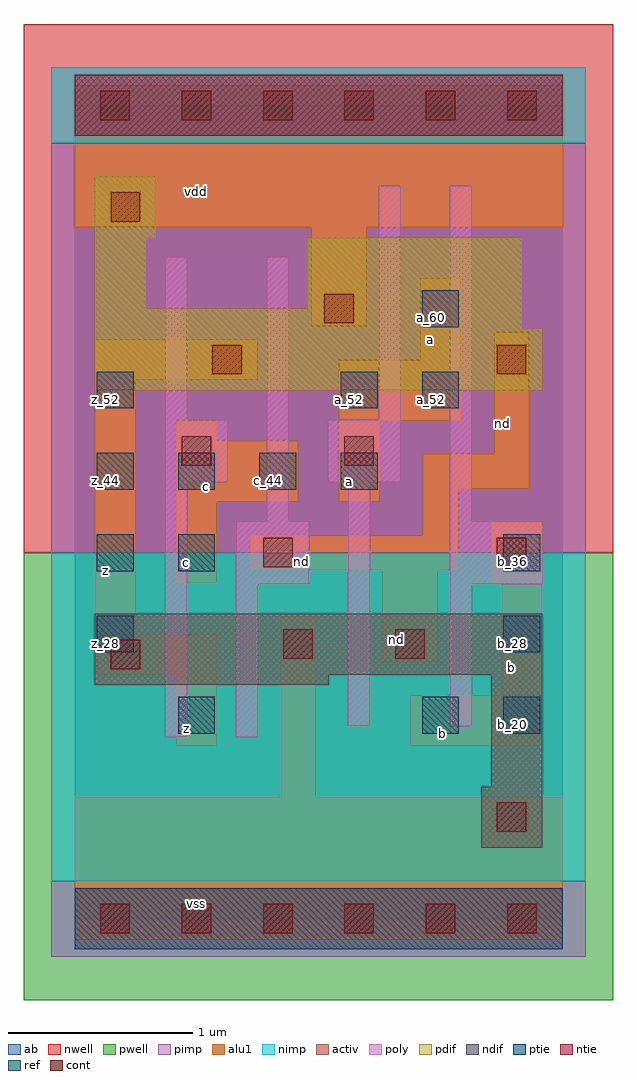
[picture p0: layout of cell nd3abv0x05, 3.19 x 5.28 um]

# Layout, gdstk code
import gdstk
lib = gdstk.Library(unit=1e-6, precision=2.5e-09)
def R(c, l, rs):  # rectangles x0, y0, x1, y1
    for r in rs: c.add(gdstk.rectangle(r[:2], r[2:], *l))
def A(c, l, x, y, w, h, nx, ny, dx, dy):  # array of equal rectangles
    R(c, l, [(x+i*dx, y+j*dy, x+i*dx+w, y+j*dy+h) for i in range(nx) for j in range(ny)])
ndif = (3, 0)
pdif = (4, 0)
ntie = (5, 0)
ptie = (6, 0)
ref = (24, 0)
cont = (25, 0)
pwell = (41, 0)
nwell = (42, 0)
activ = (43, 0)
pimp = (44, 0)
nimp = (45, 0)
poly = (46, 0)
alu1 = (49, 0)
ab = (63, 0)

nd3abv0x05 = lib.new_cell('nd3abv0x05')
R(nd3abv0x05, ndif, [(2.2,0.385,2.53,0.715), (2.255,0.715,2.53,1.32), (0.11,1.265,1.375,1.32), (0.11,1.32,2.53,1.65)])
R(nd3abv0x05, pdif, [(0.11,2.86,2.53,3.19), (0.11,3.19,2.42,3.3), (0.11,3.3,0.385,3.685), (1.265,3.3,2.42,3.685), (0.11,3.685,0.44,4.015)])
R(nd3abv0x05, ntie, [(0,4.235,2.64,4.565)])
R(nd3abv0x05, ptie, [(0,-0.165,2.64,0.165)])
A(nd3abv0x05, ref, 2.32, 1, 0.2, 0.2, 1, 3, 0, 0.44)
A(nd3abv0x05, ref, 0.12, 2.32, 0.2, 0.2, 4, 1, 0.44, 0)
R(nd3abv0x05, ref, [(0.56,1,0.76,1.2), (1.88,1,2.08,1.2), (0.12,1.44,0.32,1.64), (0.12,1.88,0.32,2.08), (0.56,1.88,0.76,2.08), (0.12,2.76,0.32,2.96), (1.44,2.76,1.64,2.96), (1.88,2.76,2.08,2.96), (1.88,3.2,2.08,3.4)])
A(nd3abv0x05, cont, 0.14, -0.08, 0.16, 0.16, 6, 2, 0.44, 4.4)
R(nd3abv0x05, cont, [(2.285,0.47,2.445,0.63), (0.195,1.35,0.355,1.51), (1.13,1.405,1.29,1.565), (1.735,1.405,1.895,1.565), (1.02,1.9,1.18,2.06), (2.285,1.9,2.445,2.06), (0.58,2.45,0.74,2.61), (1.46,2.45,1.62,2.61), (0.745,2.945,0.905,3.105), (2.285,2.945,2.445,3.105), (1.35,3.22,1.51,3.38), (0.195,3.77,0.355,3.93)])
R(nd3abv0x05, pwell, [(-0.275,-0.44,2.915,1.98)])
R(nd3abv0x05, nwell, [(-0.275,1.98,2.915,4.84)])
R(nd3abv0x05, activ, [(0,-0.165,2.64,0.165), (2.2,0.385,2.53,0.715), (2.255,0.715,2.53,1.32), (0.11,1.265,1.375,1.32), (0.11,1.32,2.53,1.65), (0.11,2.86,2.53,3.19), (0.11,3.19,2.42,3.3), (0.11,3.3,0.385,3.685), (1.265,3.3,2.42,3.685), (0.11,3.685,0.44,4.015), (0,4.235,2.64,4.565)])
R(nd3abv0x05, pimp, [(-0.125,-0.205,2.765,0.205), (-0.125,1.98,2.765,4.195)])
R(nd3abv0x05, nimp, [(-0.125,0.205,2.765,1.98), (-0.125,4.195,2.765,4.605)])
R(nd3abv0x05, poly, [(0.49,0.985,0.61,2.36), (0.875,0.985,0.995,1.81), (1.48,1.04,1.6,2.36), (2.03,1.04,2.15,1.81), (0.875,1.81,1.27,2.15), (2.03,1.81,2.535,2.15), (1.04,2.15,1.16,3.58), (2.03,2.15,2.15,3.965), (0.49,2.36,0.83,2.7), (1.37,2.36,1.765,2.7), (0.49,2.7,0.61,3.58), (1.645,2.7,1.765,3.965)])
R(nd3abv0x05, alu1, [(0,-0.11,2.64,0.66), (1.115,0.66,1.305,1.635), (0.55,0.935,0.77,1.32), (1.815,0.935,2.53,1.21), (2.31,1.21,2.53,1.815), (0.11,1.32,0.77,1.54), (1.665,1.39,1.965,1.885), (0.11,1.54,0.33,2.915), (0.55,1.815,0.77,2.255), (2.255,1.815,2.53,2.145), (0.95,1.885,2.075,2.075), (1.885,2.075,2.075,2.325), (0.55,2.255,1.21,2.585), (1.43,2.255,1.65,2.695), (1.885,2.325,2.46,2.515), (2.27,2.515,2.46,3.175), (0.55,2.585,0.77,2.695), (1.43,2.695,2.09,3.025), (0.11,2.915,0.99,3.135), (1.87,3.025,2.09,3.465), (1.28,3.205,1.58,3.74), (0,3.74,2.64,4.51)])
R(nd3abv0x05, ab, [(0,0,2.64,4.4)])
nd3abv0x05.add(gdstk.Label('vss', (0.66,0.0825), layer=49, texttype=0))
nd3abv0x05.add(gdstk.Label('b', (1.9925,1.0025), layer=49, texttype=0))
nd3abv0x05.add(gdstk.Label('b', (2.365,1.36), layer=49, texttype=0))
nd3abv0x05.add(gdstk.Label('nd', (1.74,1.5125), layer=49, texttype=0))
nd3abv0x05.add(gdstk.Label('z', (0.605,1.03), layer=49, texttype=0))
nd3abv0x05.add(gdstk.Label('nd', (1.23,1.9325), layer=49, texttype=0))
nd3abv0x05.add(gdstk.Label('c', (0.605,1.925), layer=49, texttype=0))
nd3abv0x05.add(gdstk.Label('nd', (2.3175,2.68), layer=49, texttype=0))
nd3abv0x05.add(gdstk.Label('a', (1.485,2.365), layer=49, texttype=0))
nd3abv0x05.add(gdstk.Label('c', (0.715,2.3375), layer=49, texttype=0))
nd3abv0x05.add(gdstk.Label('z', (0.165,1.8825), layer=49, texttype=0))
nd3abv0x05.add(gdstk.Label('a', (1.925,3.135), layer=49, texttype=0))
nd3abv0x05.add(gdstk.Label('vdd', (0.66,3.9325), layer=49, texttype=0))
nd3abv0x05.add(gdstk.Label('a_60', (1.93,3.25), layer=24, texttype=0))
nd3abv0x05.add(gdstk.Label('z_20', (0.61,1.05), layer=24, texttype=0))
nd3abv0x05.add(gdstk.Label('c_36', (0.61,1.93), layer=24, texttype=0))
nd3abv0x05.add(gdstk.Label('c_44', (0.61,2.37), layer=24, texttype=0))
nd3abv0x05.add(gdstk.Label('z_28', (0.17,1.49), layer=24, texttype=0))
nd3abv0x05.add(gdstk.Label('z_36', (0.17,1.93), layer=24, texttype=0))
nd3abv0x05.add(gdstk.Label('z_44', (0.17,2.37), layer=24, texttype=0))
nd3abv0x05.add(gdstk.Label('z_52', (0.17,2.81), layer=24, texttype=0))
nd3abv0x05.add(gdstk.Label('a_52', (1.93,2.81), layer=24, texttype=0))
nd3abv0x05.add(gdstk.Label('a_52', (1.49,2.81), layer=24, texttype=0))
nd3abv0x05.add(gdstk.Label('a_44', (1.49,2.37), layer=24, texttype=0))
nd3abv0x05.add(gdstk.Label('b_28', (2.37,1.49), layer=24, texttype=0))
nd3abv0x05.add(gdstk.Label('b_36', (2.37,1.93), layer=24, texttype=0))
nd3abv0x05.add(gdstk.Label('b_20', (1.93,1.05), layer=24, texttype=0))
nd3abv0x05.add(gdstk.Label('b_20', (2.37,1.05), layer=24, texttype=0))
nd3abv0x05.add(gdstk.Label('c_44', (1.05,2.37), layer=24, texttype=0))

lib.write_gds('nd3abv0x05.gds')
